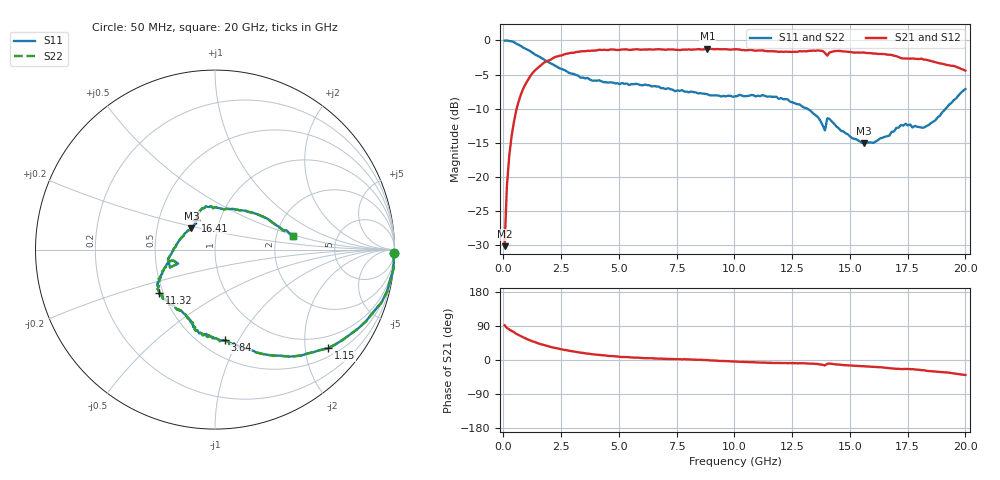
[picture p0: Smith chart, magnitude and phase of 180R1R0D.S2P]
!  American Technical Ceramics  Date:  3/13/98
!  One Norden Lane
!  Huntington Station,  NY.  11746-2102
!  Tel:  (516) 547-5700  Fax:  (516) 547-5748
!  Part Number  180r1r0d
!  Description: Porcelain, High Q, Low ESR
!  Application: Bypass, Coupling, Timing, Feedback
!  Tuning, Impedance Match, Blocking
# GHZ S DB R 50
! Freq  |S11|  S11 Ph  |S21|  S21 Ph  |S12|  S12 Ph  |S22|  S22 Ph
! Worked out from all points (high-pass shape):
!   201 points, 50 MHz to 20 GHz, reference 50 ohm
!   highest |S21| = -1.20 dB at 8.83 GHz (marker M1); lowest = -30.1 dB at 50 MHz (marker M2)
!   |S21| within 3 dB of the highest: 1.423 GHz to 19.85 GHz (18.43 GHz wide, 173 % of centre)
!   lowest |S11| = -15.0 dB at 15.61 GHz (marker M3), VSWR 1.43, Z = 37.4 + j9.15 ohm
!   |S11| at or under -10 dB: 13.16 GHz to 19.14 GHz (5.985 GHz wide, 37.1 % of centre)
!   |S22| runs from -15.0 to 0.0 dB; largest |S21 - S12| = 0
!   S11 on the Smith chart (normalised r, x): 50 MHz: open; 1.15 GHz: 0.68, -2.51; 3.84 GHz: 0.64, -0.88; 11.32 GHz: 0.48, -0.27; 16.41 GHz: 0.77, +0.26; 20 GHz: 2.48, +0.45
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0.05  -0.02 -1.0  -30.10 91.6  -30.10 91.6  -0.02 -1.0
0.15  0.00 -6.2  -21.28 84.4  -21.28 84.4  0.00 -6.2
0.35  -0.12 -13.7  -14.06 77.0  -14.06 77.0  -0.12 -13.7
0.65  -0.62 -25.4  -9.00 66.1  -9.00 66.1  -0.62 -25.4
1.15  -1.54 -41.0  -5.27 51.9  -5.27 51.9  -1.54 -41.0
2.24  -3.70 -63.7  -2.41 31.9  -2.41 31.9  -3.70 -63.7
3.44  -5.42 -79.8  -1.57 18.9  -1.57 18.9  -5.42 -79.8
3.84  -5.88 -83.9  -1.49 15.2  -1.49 15.2  -5.88 -83.9
6.73  -6.75 -104.2  -1.28 3.4  -1.28 3.4  -6.75 -104.2
8.83  -7.87 -113.1  -1.20 -0.3  -1.20 -0.3  -7.87 -113.1
10.03  -8.17 -127.4  -1.29 -4.0  -1.29 -4.0  -8.17 -127.4
11.32  -8.11 -142.1  -1.55 -7.0  -1.55 -7.0  -8.11 -142.1
13.42  -10.70 -160.6  -1.48 -9.8  -1.48 -9.8  -10.70 -160.6
13.92  -13.16 -159.3  -1.84 -14.4  -1.84 -14.4  -13.16 -159.3
14.11  -11.46 -168.3  -1.78 -9.3  -1.78 -9.3  -11.46 -168.3
15.61  -15.04 138.0  -1.76 -16.3  -1.76 -16.3  -15.04 138.0
16.41  -14.24 123.3  -1.99 -19.5  -1.99 -19.5  -14.24 123.3
16.71  -13.92 118.7  -2.10 -21.7  -2.10 -21.7  -13.92 118.7
17.41  -12.19 102.0  -2.64 -23.6  -2.64 -23.6  -12.19 102.0
18.2  -12.77 77.3  -2.80 -27.1  -2.80 -27.1  -12.77 77.3
18.8  -11.25 52.6  -3.27 -31.1  -3.27 -31.1  -11.25 52.6
20  -7.11 9.5  -4.41 -39.5  -4.41 -39.5  -7.11 9.5
